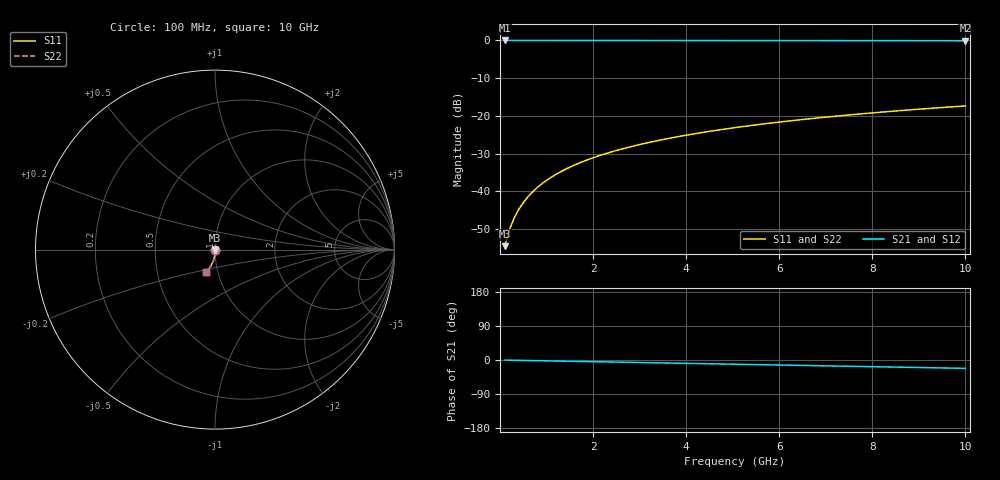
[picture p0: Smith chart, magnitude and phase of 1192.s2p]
# Hz S RI R 50.00
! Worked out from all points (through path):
!   100 points, 100 MHz to 10 GHz, reference 50 ohm
!   highest |S21| = -0.01 dB at 100 MHz (marker M1); lowest = -0.1 dB at 10 GHz (marker M2)
!   group delay of S21, straight-line fit = 6.13 ps
!   lowest |S11| = -54.5 dB at 100 MHz (marker M3), VSWR 1.00, Z = 50.1 - j0.14 ohm
!   |S11| at or under -10 dB: start of sweep to end of sweep
!   |S22| runs from -54.5 to -17.4 dB; largest |S21 - S12| = 0
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1e8  0.00125 -0.0014  0.9987 -0.00385  0.9987 -0.00385  0.00125 -0.0014
2e8  0.00124 -0.00279  0.9987 -0.0077  0.9987 -0.0077  0.00124 -0.00279
3e8  0.00122 -0.00419  0.9986 -0.0116  0.9986 -0.0116  0.00122 -0.00419
4e8  0.00118 -0.00558  0.9986 -0.0154  0.9986 -0.0154  0.00118 -0.00558
5e8  0.00114 -0.00698  0.9985 -0.0193  0.9985 -0.0193  0.00114 -0.00698
6e8  0.00108 -0.00837  0.9984 -0.0231  0.9984 -0.0231  0.00108 -0.00837
7e8  0.00101 -0.00976  0.9983 -0.027  0.9983 -0.027  0.00101 -0.00976
8e8  0.000931 -0.0112  0.9981 -0.0308  0.9981 -0.0308  0.000931 -0.0112
9e8  0.00084 -0.0126  0.998 -0.0347  0.998 -0.0347  0.00084 -0.0126
1.1e9  0.000626 -0.0153  0.9977 -0.0424  0.9977 -0.0424  0.000626 -0.0153
1.4e9  0.000224 -0.0195  0.997 -0.0539  0.997 -0.0539  0.000224 -0.0195
1.8e9  -0.000464 -0.025  0.9959 -0.0693  0.9959 -0.0693  -0.000464 -0.025
2.1e9  -0.00109 -0.0292  0.9949 -0.0808  0.9949 -0.0808  -0.00109 -0.0292
2.5e9  -0.00208 -0.0347  0.9934 -0.0961  0.9934 -0.0961  -0.00208 -0.0347
2.9e9  -0.00323 -0.0401  0.9915 -0.1114  0.9915 -0.1114  -0.00323 -0.0401
3.4e9  -0.00491 -0.0469  0.9889 -0.1304  0.9889 -0.1304  -0.00491 -0.0469
4.2e9  -0.00814 -0.0576  0.9838 -0.1608  0.9838 -0.1608  -0.00814 -0.0576
5.1e9  -0.0125 -0.0694  0.9768 -0.1946  0.9768 -0.1946  -0.0125 -0.0694
5.9e9  -0.0171 -0.0795  0.9695 -0.2244  0.9695 -0.2244  -0.0171 -0.0795
6.7e9  -0.0223 -0.0894  0.9612 -0.2539  0.9612 -0.2539  -0.0223 -0.0894
8.4e9  -0.0353 -0.1092  0.9403 -0.3152  0.9403 -0.3152  -0.0353 -0.1092
1e10  -0.0497 -0.126  0.9167 -0.3712  0.9167 -0.3712  -0.0497 -0.126
